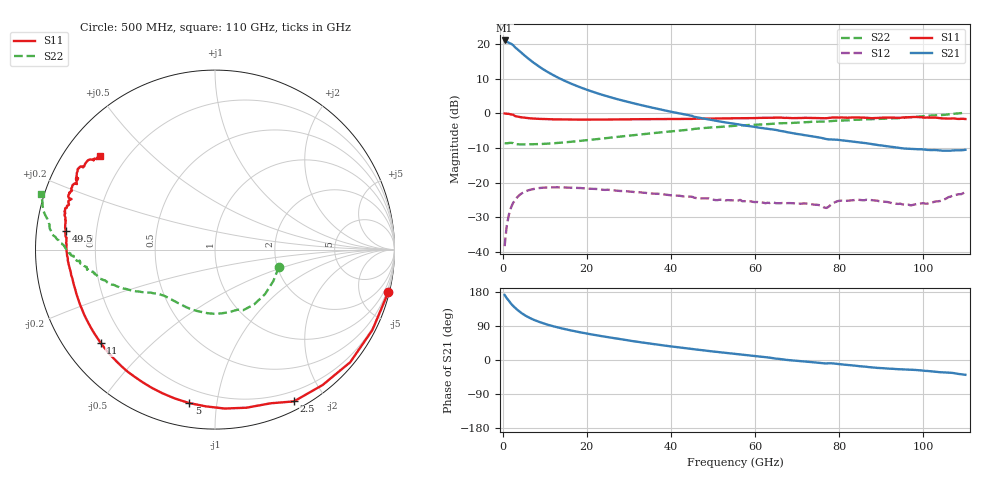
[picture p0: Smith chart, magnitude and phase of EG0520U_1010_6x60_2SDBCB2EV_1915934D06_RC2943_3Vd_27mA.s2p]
!File name = EG0520U_1010_6x60_2SDBCB2EV_1915934D06_RC2943_3Vd_27mA.s2p
!Base file name = EG0520U_1010_6x60_2SDBCB2EV_1915934D06_RC2943
!Date = 8/23/2019
!Time = 1:03 PM
!Test duration(min) = 0.15
!Test = S-Parameters
!MPTS version = 8.91.5
!State File = C:\Data\PNA\20190821205423\S-Parameters_2019-08-23.sta
!Cal File =
!ComputerName = CMPE-LAB-6
!Comments =
!Attenuation = 0
!Z0 = 50
!Input Power(dBm) = -13.00
!Device ID = EG0520U_1010_6x60_2SDBCB2EV
!Row = 29
!Column = 43
!Technology = QPHT09
!Lot/Wafer = 1915934D06
!Gate Size = 360
!Mask = EG0520
!Cal Standards = GaAs BCB
!Cal Kit = EG2306
!Job Number = 20190821205423
!Device Type = FET
!set_Vg(v) = -1.500
!set_Vd(v) = 3.000
!set_Vd(mA) = 27.000
!file_name = EG0520U_1010_6x60_2SDBCB2EV_1915934D06_RC2943_3Vd_27mA.s2p
!Vd(V) = 3.000
!Vd(mA) = 27.004
!Vg(V) = -0.561
!Vg(mA) = -0.003
# GHz  S  DB  R  50
!%	Freq(GHz)  s11(dB)  s11(deg)  s21(dB)  s21(deg)  s12(dB)  s12(deg)  s22(dB)  s22(deg)
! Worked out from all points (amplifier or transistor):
!   220 points, 500 MHz to 110 GHz, reference 50 ohm
!   highest |S21| = 21.0 dB at 500 MHz (marker M1)
!   |S21| within 3 dB of that: start of sweep to 3.988 GHz
!   unconditionally stable (mu >= 1): 35.11 GHz to 97.02 GHz
!   at 18.5 GHz: K = 0.52, MSG = 14.5 dB, |S12| = -21.5 dB
!   at 55.5 GHz: K = 1.50, MAG = 6.8 dB, |S12| = -25.1 dB
!   at 110 GHz: K = -1.11, MSG = 6.0 dB, |S12| = -22.6 dB
!   S11 on the Smith chart (normalised r, x): 500 MHz: 0.20, -8.34; 2.5 GHz: 0.09, -1.64; 5 GHz: 0.12, -0.84; 11 GHz: 0.11, -0.35; 49.5 GHz: 0.09, +0.06; 110 GHz: 0.11, +0.35
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0.5  -0.05 -13.7  20.98 171.6  -38.28 81.4  -8.65 -14.8
1  -0.13 -27.1  20.63 163.3  -32.48 74.2  -8.65 -28.5
1.5  -0.17 -39.8  20.32 156.5  -29.29 67.2  -8.56 -41.7
2  -0.32 -51.6  20.06 149.1  -27.24 60.5  -8.51 -54.6
2.5  -0.42 -62.5  19.66 142.8  -25.83 54.8  -8.58 -65.0
3.5  -0.93 -78.8  18.50 132.6  -24.19 46.0  -8.94 -77.5
4.5  -1.16 -93.4  17.43 123.9  -23.13 38.5  -8.94 -91.1
5  -1.24 -99.5  16.90 120.2  -22.77 35.3  -8.95 -96.6
6  -1.39 -110.2  15.89 113.6  -22.25 30.1  -8.96 -105.8
7.5  -1.53 -122.4  14.47 105.7  -21.79 23.9  -8.91 -115.9
9  -1.62 -131.4  13.20 99.5  -21.50 19.3  -8.86 -122.5
11  -1.70 -140.8  11.71 92.3  -21.35 14.3  -8.73 -129.3
14.5  -1.78 -152.1  9.51 82.3  -21.36 8.2  -8.40 -136.8
19  -1.83 -161.5  7.24 71.9  -21.57 2.9  -7.88 -142.3
26.5  -1.79 -171.1  4.33 57.6  -22.17 -2.0  -6.91 -148.1
37  -1.65 -179.7  1.23 40.2  -23.19 -5.1  -5.57 -154.7
49.5  -1.54 172.9  -1.90 23.1  -24.74 -5.3  -4.08 -162.8
55.5  -1.44 169.7  -3.09 15.9  -25.12 -3.8  -3.58 -166.1
73.5  -1.36 161.2  -6.62 -5.7  -26.25 -6.3  -2.44 -174.2
92  -1.26 152.4  -9.60 -22.9  -25.70 -18.3  -1.48 178.4
101  -1.22 147.9  -10.56 -28.9  -26.03 -14.8  -0.73 173.5
110  -1.65 141.0  -10.51 -39.1  -22.59 -22.3  0.17 162.2
